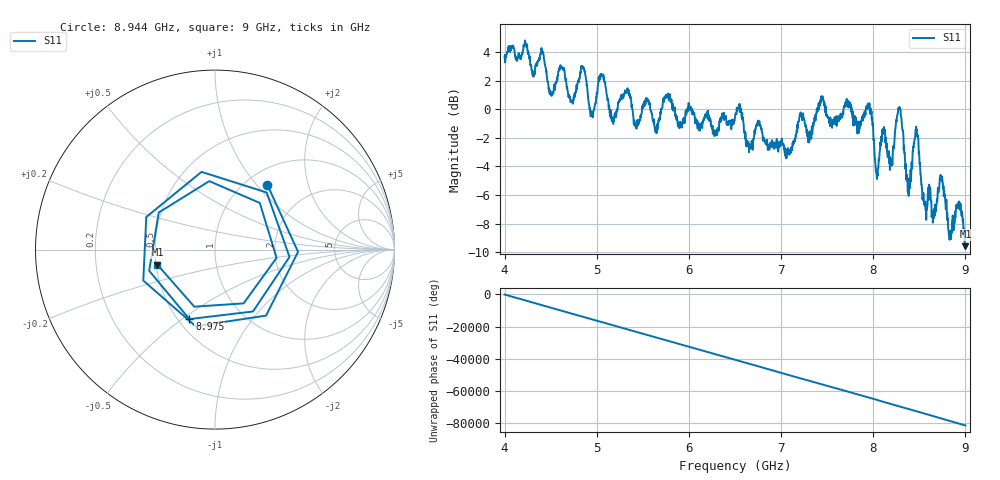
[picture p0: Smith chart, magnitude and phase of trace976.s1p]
! Created with skrf 1.8.0 (http://scikit-rf.org).
# Hz S RI R 50.0
!freq ReS11 ImS11
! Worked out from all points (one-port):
!   1601 points, 4 GHz to 9 GHz, reference 50 ohm
!   lowest |S11| = -9.6 dB at 9 GHz (marker M1), VSWR 1.99, Z = 25.4 - j4.83 ohm
!   |S11| at or under -10 dB: nowhere
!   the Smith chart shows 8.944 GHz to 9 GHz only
!   S11 on the Smith chart (normalised r, x): 8.944 GHz: 1.24, +1.14; 8.975 GHz: 0.57, -0.53; 9 GHz: 0.51, -0.10
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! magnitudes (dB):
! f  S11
! 4 GHz  3.6
! 4.406 GHz  4.1
! 4.506 GHz  1.1
! 4.625 GHz  2.9
! 4.731 GHz  0.6
! 4.853 GHz  3.0
! 4.944 GHz  -0.1
! 5.047 GHz  2.4
! 5.162 GHz  -0.8
! 5.25 GHz  0.7
! 5.875 GHz  -0.8
! 6.5 GHz  -0.6
! 7.125 GHz  -2.4
! 7.434 GHz  0.9
! 7.75 GHz  0.2
! 7.956 GHz  0.1
! 8.041 GHz  -4.9
! 8.112 GHz  -1.5
! 8.197 GHz  -3.9
! 8.284 GHz  0.0
! 8.375 GHz  -5.8
! 8.466 GHz  -1.2
! 8.559 GHz  -6.8
! 8.744 GHz  -5.0
! 8.834 GHz  -8.5
! 8.944 GHz  -6.7
! 8.975 GHz  -7.7
! 9 GHz  -9.6
